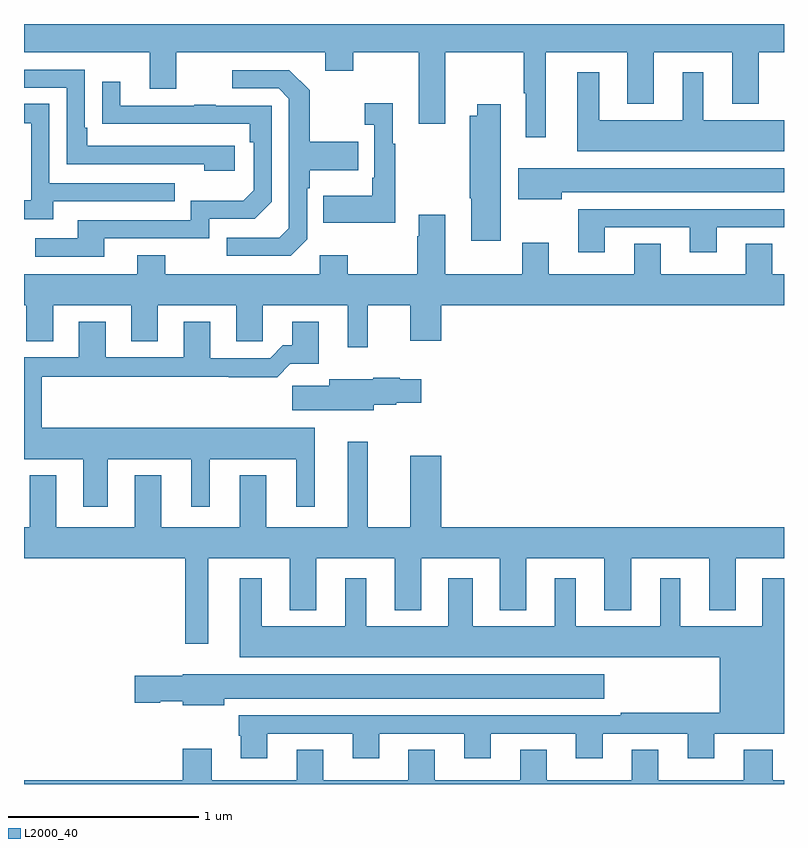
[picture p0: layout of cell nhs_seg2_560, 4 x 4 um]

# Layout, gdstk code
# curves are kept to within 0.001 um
import gdstk
lib = gdstk.Library(unit=1e-6, precision=1e-09)
def P(c, l, *ps):  # polygons
    for p in ps: c.add(gdstk.Polygon(p, *l))
L2000_40 = (2000, 40)

nhs_seg2_560 = lib.new_cell('nhs_seg2_560')
P(nhs_seg2_560, L2000_40, [(141.745,631.652),(142.175,631.652),(142.175,631.379),(142.315,631.379),(142.315,631.652),(142.727,631.652),(142.727,631.379),(142.867,631.379),(142.867,631.652),(143,631.652),(143,631.8),(139,631.8),(139,631.652),(139.661,631.652),(139.661,631.458),(139.801,631.458),(139.801,631.652),(140.585,631.652),(140.585,631.553),(140.733,631.553),(140.733,631.652),(141.077,631.652),(141.077,631.275),(141.217,631.275),(141.217,631.652),(141.631,631.652),(141.631,631.436),(141.641,631.436),(141.641,631.203),(141.745,631.203)],
  [(140.11,631.158),(139.333,631.158),(139.333,631.255),(139.32,631.255),(139.32,631.56),(139,631.56),(139,631.464),(139.224,631.464),(139.224,631.062),(139.949,631.062),(139.949,631.028),(140.11,631.028)],
  [(140.49,630.666),(140.49,630.935),(140.503,630.935),(140.503,631.031),(140.759,631.031),(140.759,631.179),(140.503,631.179),(140.503,631.451),(140.397,631.557),(140.097,631.557),(140.097,631.461),(140.34,631.461),(140.394,631.407),(140.394,630.726),(140.343,630.675),(140.067,630.675),(140.067,630.579),(140.403,630.579)],
  [(143,631.294),(142.576,631.294),(142.576,631.546),(142.466,631.546),(142.466,631.294),(142.027,631.294),(142.027,631.546),(141.911,631.546),(141.911,631.13),(143,631.13)],
  [(139.423,630.672),(139.974,630.672),(139.974,630.774),(140.214,630.774),(140.304,630.864),(140.304,631.371),(140.009,631.371),(140.009,631.376),(139.897,631.376),(139.897,631.371),(139.507,631.371),(139.507,631.495),(139.411,631.495),(139.411,631.276),(140.188,631.275),(140.188,631.178),(140.208,631.178),(140.208,630.924),(140.155,630.871),(139.878,630.871),(139.878,630.768),(139.283,630.768),(139.283,630.672),(139.059,630.672),(139.059,630.576),(139.423,630.576)],
  [(140.953,631.171),(140.941,631.171),(140.941,631.384),(140.793,631.384),(140.793,631.271),(140.844,631.271),(140.844,630.991),(140.832,630.991),(140.832,630.895),(140.575,630.895),(140.575,630.755),(140.953,630.755)],
  [(139.153,630.867),(139.793,630.867),(139.793,630.963),(139.134,630.963),(139.134,631.379),(139,631.379),(139,631.278),(139.038,631.278),(139.038,630.873),(139,630.873),(139,630.773),(139.153,630.773)],
  [(141.508,631.378),(141.386,631.378),(141.386,631.318),(141.346,631.318),(141.346,630.883),(141.353,630.883),(141.353,630.66),(141.508,630.66)],
  [(141.829,630.914),(143,630.914),(143,631.042),(141.6,631.042),(141.6,630.878),(141.829,630.878)],
  [(142.057,630.729),(142.505,630.729),(142.505,630.6),(142.645,630.6),(142.645,630.729),(143,630.729),(143,630.825),(141.917,630.825),(141.917,630.6),(142.057,630.6)],
  [(143,630.484),(142.939,630.484),(142.939,630.644),(142.799,630.644),(142.799,630.484),(142.351,630.484),(142.351,630.644),(142.211,630.644),(142.211,630.484),(141.763,630.484),(141.763,630.649),(141.623,630.649),(141.623,630.484),(141.217,630.484),(141.217,630.796),(141.077,630.796),(141.077,630.683),(141.07,630.683),(141.07,630.484),(140.703,630.484),(140.703,630.583),(140.556,630.583),(140.556,630.484),(139.743,630.484),(139.743,630.583),(139.595,630.583),(139.595,630.484),(139,630.484),(139,630.32),(139.013,630.32),(139.013,630.13),(139.153,630.13),(139.153,630.32),(139.565,630.32),(139.565,630.13),(139.705,630.13),(139.705,630.32),(140.117,630.32),(140.117,630.13),(140.256,630.13),(140.256,630.32),(140.705,630.32),(140.705,630.099),(140.809,630.099),(140.809,630.32),(141.032,630.32),(141.032,630.132),(141.196,630.132),(141.196,630.32),(143,630.32)],
  [(139.441,629.51),(139.88,629.51),(139.88,629.259),(139.978,629.259),(139.978,629.51),(140.432,629.51),(140.432,629.259),(140.53,629.259),(140.53,629.674),(139.093,629.674),(139.093,629.944),(140.077,629.944),(140.077,629.942),(140.333,629.942),(140.402,630.011),(140.551,630.011),(140.551,630.232),(140.411,630.232),(140.411,630.109),(140.362,630.109),(140.295,630.042),(139.981,630.042),(139.981,630.232),(139.841,630.232),(139.841,630.045),(139.429,630.045),(139.429,630.232),(139.289,630.232),(139.289,630.045),(139,630.045),(139,629.51),(139.313,629.51),(139.313,629.259),(139.441,629.259)],
  [(140.842,629.795),(140.958,629.795),(140.958,629.807),(141.091,629.807),(141.091,629.929),(140.978,629.929),(140.978,629.937),(140.838,629.937),(140.838,629.929),(140.606,629.929),(140.606,629.897),(140.412,629.897),(140.412,629.768),(140.842,629.768)],
  [(139.969,628.988),(140.399,628.988),(140.399,628.715),(140.539,628.715),(140.539,628.988),(140.951,628.988),(140.951,628.715),(141.091,628.715),(141.091,628.988),(141.503,628.988),(141.503,628.715),(141.643,628.715),(141.643,628.988),(142.055,628.988),(142.055,628.715),(142.195,628.715),(142.195,628.988),(142.607,628.988),(142.607,628.715),(142.747,628.715),(142.747,628.988),(143,628.988),(143,629.152),(141.196,629.152),(141.196,629.527),(141.032,629.527),(141.032,629.152),(140.809,629.152),(140.809,629.602),(140.705,629.602),(140.705,629.152),(140.275,629.152),(140.275,629.425),(140.135,629.425),(140.135,629.152),(139.723,629.152),(139.723,629.425),(139.583,629.425),(139.583,629.152),(139.171,629.152),(139.171,629.425),(139.031,629.425),(139.031,629.152),(139,629.152),(139,628.988),(139.848,628.988),(139.848,628.539),(139.969,628.539)],
  [(140.281,628.065),(140.729,628.065),(140.729,627.936),(140.869,627.936),(140.869,628.065),(141.317,628.065),(141.317,627.936),(141.457,627.936),(141.457,628.065),(141.905,628.065),(141.905,627.936),(142.045,627.936),(142.045,628.065),(142.493,628.065),(142.493,627.936),(142.633,627.936),(142.633,628.064),(143,628.064),(143,628.882),(142.886,628.882),(142.886,628.63),(142.453,628.63),(142.453,628.882),(142.349,628.882),(142.349,628.63),(141.904,628.63),(141.904,628.882),(141.794,628.882),(141.794,628.63),(141.361,628.63),(141.361,628.882),(141.233,628.882),(141.233,628.63),(140.8,628.63),(140.8,628.882),(140.69,628.882),(140.69,628.63),(140.251,628.63),(140.251,628.882),(140.135,628.882),(140.135,628.466),(142.661,628.466),(142.661,628.174),(142.141,628.174),(142.141,628.161),(140.129,628.161),(140.129,628.053),(140.141,628.053),(140.141,627.936),(140.281,627.936)],
  [(140.053,628.25),(142.054,628.25),(142.054,628.378),(139.836,628.378),(139.836,628.37),(139.584,628.37),(139.584,628.228),(139.716,628.228),(139.716,628.235),(139.836,628.235),(139.836,628.214),(140.053,628.214)],
  [(139.987,627.985),(139.835,627.985),(139.835,627.82),(139,627.82),(139,627.8),(143,627.8),(143,627.82),(142.94,627.82),(142.94,627.979),(142.787,627.979),(142.787,627.82),(142.339,627.82),(142.339,627.98),(142.199,627.98),(142.199,627.82),(141.751,627.82),(141.751,627.98),(141.611,627.98),(141.611,627.82),(141.163,627.82),(141.163,627.98),(141.023,627.98),(141.023,627.82),(140.575,627.82),(140.575,627.98),(140.435,627.98),(140.435,627.82),(139.987,627.82)])

lib.write_gds('nhs_seg2_560.gds')
